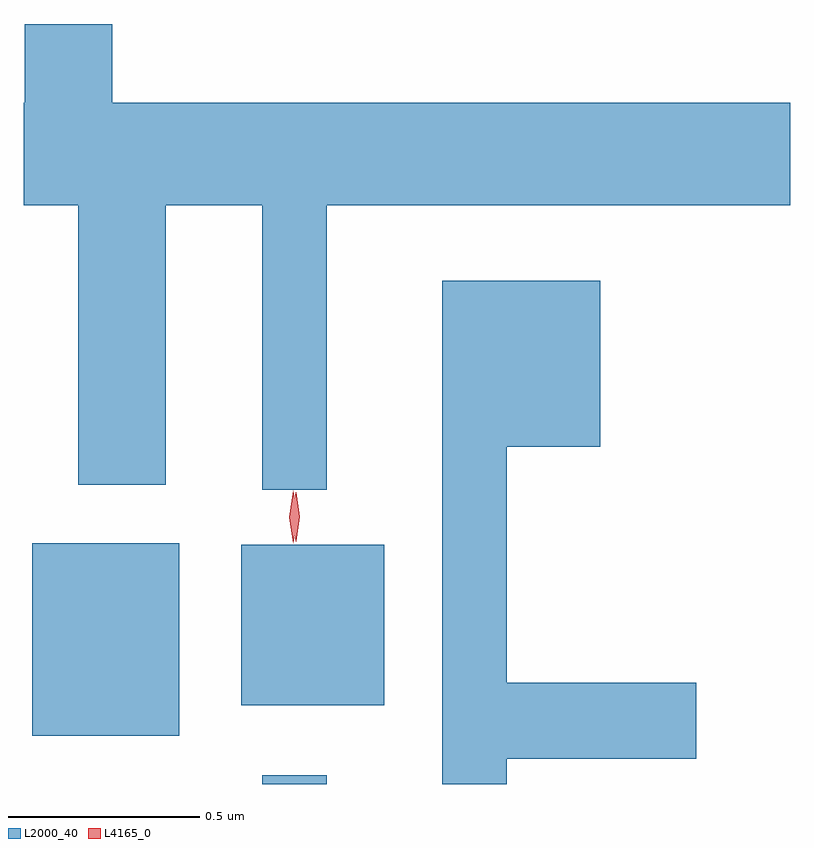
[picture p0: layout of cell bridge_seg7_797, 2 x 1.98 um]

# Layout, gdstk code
import gdstk
lib = gdstk.Library(unit=1e-6, precision=1e-09)
def R(c, l, rs):  # rectangles x0, y0, x1, y1
    for r in rs: c.add(gdstk.rectangle(r[:2], r[2:], *l))
def P(c, l, *ps):  # polygons
    for p in ps: c.add(gdstk.Polygon(p, *l))
L2000_40 = (2000, 40)
L4165_0 = (4165, 0)

bridge_seg7_797 = lib.new_cell('bridge_seg7_797')
R(bridge_seg7_797, L2000_40, [(261.231,1788.285,261.399,1788.308), (260.631,1788.411,261.014,1788.914), (261.176,1788.491,261.549,1788.909)])
P(bridge_seg7_797, L2000_40, [(261.399,1789.796),(262.609,1789.796),(262.609,1790.064),(260.839,1790.064),(260.839,1790.269),(260.611,1790.269),(260.611,1790.064),(260.609,1790.064),(260.609,1789.796),(260.751,1789.796),(260.751,1789.066),(260.979,1789.066),(260.979,1789.796),(261.231,1789.796),(261.231,1789.053),(261.399,1789.053)],
  [(261.869,1788.351),(262.364,1788.351),(262.364,1788.549),(261.869,1788.549),(261.869,1789.166),(262.114,1789.166),(262.114,1789.599),(261.701,1789.599),(261.701,1788.285),(261.869,1788.285)])
P(bridge_seg7_797, L4165_0, [(261.32,1788.918),(261.319,1788.919),(261.31,1788.983),(261.319,1789.047),(261.319,1789.047),(261.32,1789.047),(261.329,1788.983),(261.32,1788.919)],
  [(261.312,1788.914),(261.312,1788.914),(261.302,1788.982),(261.312,1789.05),(261.312,1789.05),(261.312,1789.05),(261.322,1788.982),(261.312,1788.914)])

lib.write_gds('bridge_seg7_797.gds')
